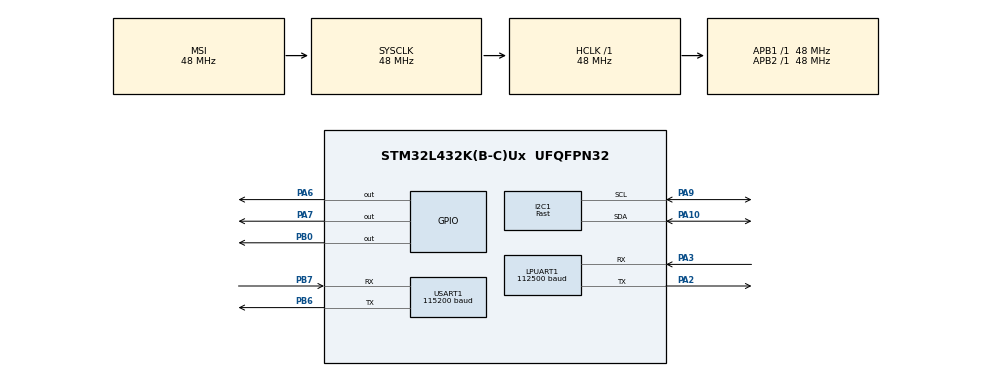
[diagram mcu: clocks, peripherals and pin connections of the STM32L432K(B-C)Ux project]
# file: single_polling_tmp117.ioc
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I2C1.I2C_Speed_Mode=I2C_Fast
I2C1.Timing=0x2010091A
LPUART1.BaudRate=112500
LPUART1.WordLength=UART_WORDLENGTH_8B
Mcu.Family=STM32L4
Mcu.Name=STM32L432K(B-C)Ux
Mcu.Package=UFQFPN32
NVIC.LPUART1_IRQn=true\:0\:0\:false\:true\:true\:1\:true\:true
NVIC.PriorityGroup=NVIC_PRIORITYGROUP_4
PA0.GPIO_Label=MCO
PA0.Signal=RCC_CK_IN
PA10.Mode=I2C
PA10.Signal=I2C1_SDA
PA13\ (JTMS-SWDIO).GPIO_Label=SWDIO
PA13\ (JTMS-SWDIO).Mode=Serial_Wire
PA13\ (JTMS-SWDIO).Signal=SYS_JTMS-SWDIO
PA14\ (JTCK-SWCLK).GPIO_Label=SWCLK
PA14\ (JTCK-SWCLK).Mode=Serial_Wire
PA14\ (JTCK-SWCLK).Signal=SYS_JTCK-SWCLK
PA2.Mode=Asynchronous
PA2.Signal=LPUART1_TX
PA3.Mode=Asynchronous
PA3.Signal=LPUART1_RX
PA6.GPIO_PuPd=GPIO_PULLDOWN
PA6.Signal=GPIO_Output
PA7.GPIO_PuPd=GPIO_PULLDOWN
PA7.Signal=GPIO_Output
PA9.Mode=I2C
PA9.Signal=I2C1_SCL
PB0.Signal=GPIO_Output
PB6.Mode=Asynchronous
PB6.Signal=USART1_TX
PB7.Mode=Asynchronous
PB7.Signal=USART1_RX
PC14-OSC32_IN\ (PC14).Mode=LSE-External-Oscillator
PC14-OSC32_IN\ (PC14).Signal=RCC_OSC32_IN
PC15-OSC32_OUT\ (PC15).Mode=LSE-External-Oscillator
PC15-OSC32_OUT\ (PC15).Signal=RCC_OSC32_OUT
ProjectManager.HeapSize=0x200
ProjectManager.StackSize=0x400
ProjectManager.TargetToolchain=STM32CubeIDE
RCC.ADCFreq_Value=48000000
RCC.AHBFreq_Value=48000000
RCC.APB1Freq_Value=48000000
RCC.APB1TimFreq_Value=48000000
RCC.APB2Freq_Value=48000000
RCC.APB2TimFreq_Value=48000000
RCC.CK48CLockSelection=RCC_USBCLKSOURCE_MSI
RCC.CortexFreq_Value=48000000
RCC.HCLKFreq_Value=48000000
RCC.HSE_VALUE=8000000
RCC.HSI48_VALUE=48000000
RCC.HSI_VALUE=16000000
RCC.LPTIM1CLockSelection=RCC_LPTIM1CLKSOURCE_LSE
RCC.MSIClockRange=RCC_MSIRANGE_11
RCC.MSI_VALUE=48000000
RCC.PLLM=8
RCC.PLLQ=RCC_PLLQ_DIV4
RCC.PLLSAI1N=16
RCC.PLLSAI1Q=RCC_PLLQ_DIV4
RCC.RTCClockSelection=RCC_RTCCLKSOURCE_LSE
RCC.SYSCLKFreq_VALUE=48000000
RCC.USBFreq_Value=48000000
RCC.VCOOutputFreq_Value=48000000
USART1.BaudRate=115200
USART1.VirtualMode-Asynchronous=VM_ASYNC
VP_TIM1_VS_ClockSourceINT.Mode=Internal
VP_TIM2_VS_ClockSourceINT.Mode=Internal
board=custom

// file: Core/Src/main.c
/* USER CODE BEGIN Header */
/**
  ******************************************************************************
  * @file           : main.c
  * @brief          : Main program body
  ******************************************************************************
  * @attention
  *
  * Copyright (c) 2022 STMicroelectronics.
  * All rights reserved.
  *
  * This software is licensed under terms that can be found in the LICENSE file
  * in the root directory of this software component.
  * If no LICENSE file comes with this software, it is provided AS-IS.
  *
  ******************************************************************************
  */
/* USER CODE END Header */
#include "main.h"

/* USER CODE BEGIN Includes */
#include <stdio.h>
#include <string.h>
/* USER CODE END Includes */

/* USER CODE BEGIN PD */
#define HEAT_ON 6
#define HEAT_OFF 600
#define SIZE 32
/* USER CODE END PD */

I2C_HandleTypeDef hi2c1;

UART_HandleTypeDef hlpuart1;
UART_HandleTypeDef huart1;

TIM_HandleTypeDef htim1;
TIM_HandleTypeDef htim2;

/* USER CODE BEGIN PV */
static const uint8_t TMP117_ADDR = 0x48 << 1;
static const uint8_t BROADCAST_ADDR = 0x00 << 1;
static const uint8_t REG_TEMP = 0x00;
static const uint8_t REG_CONF = 0x01;
static uint8_t buf[SIZE];
/* USER CODE END PV */

void SystemClock_Config(void);
static void MX_GPIO_Init(void);
static void MX_LPUART1_UART_Init(void);
static void MX_USART1_UART_Init(void);
static void MX_I2C1_Init(void);
static void MX_TIM1_Init(void);
static void MX_TIM2_Init(void);
static void MX_NVIC_Init(void);

/* USER CODE BEGIN 0 */
//void HAL_UART_RxCpltCallback(UART_HandleTypeDef *hlpuart) {
//	HAL_UART_Transmit(&huart1, buf, strlen((char*) buf),
//	HAL_MAX_DELAY);
//	HAL_UART_Receive_IT(&hlpuart1, buf, 1);
//}
/* USER CODE END 0 */

int main(void)
{
  /* USER CODE BEGIN 1 */
  HAL_StatusTypeDef ret;
  uint32_t prev_time;
  uint32_t idx;
  int16_t val;
  int8_t heater;
  float temp_c;
  /* USER CODE END 1 */

  /* MCU Configuration--------------------------------------------------------*/

  /* Reset of all peripherals, Initializes the Flash interface and the Systick. */
  HAL_Init();

  /* Configure the system clock */
  SystemClock_Config();

  /* Initialize all configured peripherals */
  MX_GPIO_Init();
  MX_LPUART1_UART_Init();
  MX_USART1_UART_Init();
  MX_I2C1_Init();
  MX_TIM1_Init();
  MX_TIM2_Init();

  /* Initialize interrupts */
  MX_NVIC_Init();
  /* USER CODE BEGIN 2 */
  buf[0] = REG_CONF;
  buf[1] = 0x00;
  buf[2] = 0x00;
  ret = HAL_I2C_Master_Transmit(&hi2c1, TMP117_ADDR, buf, 3, HAL_MAX_DELAY);
  if (ret != HAL_OK) {
    strcpy((char*)buf, "Error Tx\r\n");
  }
  HAL_UART_Transmit(&huart1, (uint8_t*)buf, strlen((char*)buf), HAL_MAX_DELAY);
  HAL_Delay(1000);
  /* USER CODE END 2 */

  /* Infinite loop */
  /* USER CODE BEGIN WHILE */
  HAL_GPIO_WritePin(GPIOB, GPIO_PIN_0, GPIO_PIN_RESET);
  HAL_GPIO_WritePin(GPIOA, GPIO_PIN_6, GPIO_PIN_RESET);
  HAL_GPIO_WritePin(GPIOA, GPIO_PIN_7, GPIO_PIN_RESET);
  idx = 0;
  while (1)
  {
	if(idx == 1){
		heater = 100;
		HAL_GPIO_WritePin(GPIOA, GPIO_PIN_7, GPIO_PIN_SET);
		HAL_GPIO_WritePin(GPIOB, GPIO_PIN_0, GPIO_PIN_SET);
	}
	else if (idx == HEAT_ON+1){
		heater = 0;
		HAL_GPIO_WritePin(GPIOA, GPIO_PIN_7, GPIO_PIN_RESET);
		HAL_GPIO_WritePin(GPIOB, GPIO_PIN_0, GPIO_PIN_RESET);
	}
	else if (idx == HEAT_OFF+HEAT_ON+1){
		idx = 0;
	}
	idx++;
	prev_time = HAL_GetTick();
	buf[0] = REG_TEMP;
	ret = HAL_I2C_Master_Transmit(&hi2c1, TMP117_ADDR, buf, 1, HAL_MAX_DELAY);
	if (ret != HAL_OK) {
		strcpy((char*)buf, "Error Tx\r\n");
	}
	else{
		ret = HAL_I2C_Master_Receive(&hi2c1, TMP117_ADDR, buf, 2, HAL_MAX_DELAY);
		if (ret != HAL_OK) {
			strcpy((char*)buf, "Error Tx\r\n");
		}
		else{
			val = (int16_t)(buf[0] << 8| buf[1]);
			temp_c = val * 0.0078125;
			temp_c *= 100;
			for(int i=0; i<SIZE; i++){
				buf[i] = 0;
			}
			sprintf((char*)buf, "%lu %u.%02u %d\r\n",(uint32_t)prev_time,(uint16_t)temp_c/100,(uint16_t)temp_c%100, heater);
		}
	}

	HAL_UART_Transmit(&huart1, (uint8_t*)buf, strlen((char*)buf), HAL_MAX_DELAY);
	while(HAL_GetTick()-prev_time < 20);
    /* USER CODE END WHILE */

  }
}

void SystemClock_Config(void)
{
  RCC_OscInitTypeDef RCC_OscInitStruct = {0};
  RCC_ClkInitTypeDef RCC_ClkInitStruct = {0};

  /** Configure the main internal regulator output voltage
  */
  if (HAL_PWREx_ControlVoltageScaling(PWR_REGULATOR_VOLTAGE_SCALE1) != HAL_OK)
  {
    Error_Handler();
  }
  /** Configure LSE Drive Capability
  */
  HAL_PWR_EnableBkUpAccess();
  __HAL_RCC_LSEDRIVE_CONFIG(RCC_LSEDRIVE_LOW);
  /** Initializes the RCC Oscillators according to the specified parameters
  * in the RCC_OscInitTypeDef structure.
  */
  RCC_OscInitStruct.OscillatorType = RCC_OSCILLATORTYPE_LSE|RCC_OSCILLATORTYPE_MSI;
  RCC_OscInitStruct.LSEState = RCC_LSE_ON;
  RCC_OscInitStruct.MSIState = RCC_MSI_ON;
  RCC_OscInitStruct.MSICalibrationValue = 0;
  RCC_OscInitStruct.MSIClockRange = RCC_MSIRANGE_11;
  RCC_OscInitStruct.PLL.PLLState = RCC_PLL_NONE;
  if (HAL_RCC_OscConfig(&RCC_OscInitStruct) != HAL_OK)
  {
    Error_Handler();
  }
  /** Initializes the CPU, AHB and APB buses clocks
  */
  RCC_ClkInitStruct.ClockType = RCC_CLOCKTYPE_HCLK|RCC_CLOCKTYPE_SYSCLK
                              |RCC_CLOCKTYPE_PCLK1|RCC_CLOCKTYPE_PCLK2;
  RCC_ClkInitStruct.SYSCLKSource = RCC_SYSCLKSOURCE_MSI;
  RCC_ClkInitStruct.AHBCLKDivider = RCC_SYSCLK_DIV1;
  RCC_ClkInitStruct.APB1CLKDivider = RCC_HCLK_DIV1;
  RCC_ClkInitStruct.APB2CLKDivider = RCC_HCLK_DIV1;

  if (HAL_RCC_ClockConfig(&RCC_ClkInitStruct, FLASH_LATENCY_2) != HAL_OK)
  {
    Error_Handler();
  }
  /** Enable MSI Auto calibration
  */
  HAL_RCCEx_EnableMSIPLLMode();
}

/**
  * @brief NVIC Configuration.
  * @retval None
  */
static void MX_NVIC_Init(void)
{
  /* LPUART1_IRQn interrupt configuration */
  HAL_NVIC_SetPriority(LPUART1_IRQn, 0, 0);
  HAL_NVIC_EnableIRQ(LPUART1_IRQn);
}

static void MX_I2C1_Init(void)
{

  hi2c1.Instance = I2C1;
  hi2c1.Init.Timing = 0x2010091A;
  hi2c1.Init.OwnAddress1 = 0;
  hi2c1.Init.AddressingMode = I2C_ADDRESSINGMODE_7BIT;
  hi2c1.Init.DualAddressMode = I2C_DUALADDRESS_DISABLE;
  hi2c1.Init.OwnAddress2 = 0;
  hi2c1.Init.OwnAddress2Masks = I2C_OA2_NOMASK;
  hi2c1.Init.GeneralCallMode = I2C_GENERALCALL_DISABLE;
  hi2c1.Init.NoStretchMode = I2C_NOSTRETCH_DISABLE;
  if (HAL_I2C_Init(&hi2c1) != HAL_OK)
  {
    Error_Handler();
  }
  /** Configure Analogue filter
  */
  if (HAL_I2CEx_ConfigAnalogFilter(&hi2c1, I2C_ANALOGFILTER_ENABLE) != HAL_OK)
  {
    Error_Handler();
  }
  /** Configure Digital filter
  */
  if (HAL_I2CEx_ConfigDigitalFilter(&hi2c1, 0) != HAL_OK)
  {
    Error_Handler();
  }

}

static void MX_LPUART1_UART_Init(void)
{

  hlpuart1.Instance = LPUART1;
  hlpuart1.Init.BaudRate = 112500;
  hlpuart1.Init.WordLength = UART_WORDLENGTH_8B;
  hlpuart1.Init.StopBits = UART_STOPBITS_1;
  hlpuart1.Init.Parity = UART_PARITY_NONE;
  hlpuart1.Init.Mode = UART_MODE_TX_RX;
  hlpuart1.Init.HwFlowCtl = UART_HWCONTROL_NONE;
  hlpuart1.Init.OneBitSampling = UART_ONE_BIT_SAMPLE_DISABLE;
  hlpuart1.AdvancedInit.AdvFeatureInit = UART_ADVFEATURE_NO_INIT;
  if (HAL_UART_Init(&hlpuart1) != HAL_OK)
  {
    Error_Handler();
  }

}

static void MX_USART1_UART_Init(void)
{

  huart1.Instance = USART1;
  huart1.Init.BaudRate = 115200;
  huart1.Init.WordLength = UART_WORDLENGTH_8B;
  huart1.Init.StopBits = UART_STOPBITS_1;
  huart1.Init.Parity = UART_PARITY_NONE;
  huart1.Init.Mode = UART_MODE_TX_RX;
  huart1.Init.HwFlowCtl = UART_HWCONTROL_NONE;
  huart1.Init.OverSampling = UART_OVERSAMPLING_16;
  huart1.Init.OneBitSampling = UART_ONE_BIT_SAMPLE_DISABLE;
  huart1.AdvancedInit.AdvFeatureInit = UART_ADVFEATURE_NO_INIT;
  if (HAL_UART_Init(&huart1) != HAL_OK)
  {
    Error_Handler();
  }

}

static void MX_TIM1_Init(void)
{

  TIM_ClockConfigTypeDef sClockSourceConfig = {0};
  TIM_MasterConfigTypeDef sMasterConfig = {0};

  htim1.Instance = TIM1;
  htim1.Init.Prescaler = 0;
  htim1.Init.CounterMode = TIM_COUNTERMODE_UP;
  htim1.Init.Period = 65535;
  htim1.Init.ClockDivision = TIM_CLOCKDIVISION_DIV1;
  htim1.Init.RepetitionCounter = 0;
  htim1.Init.AutoReloadPreload = TIM_AUTORELOAD_PRELOAD_DISABLE;
  if (HAL_TIM_Base_Init(&htim1) != HAL_OK)
  {
    Error_Handler();
  }
  sClockSourceConfig.ClockSource = TIM_CLOCKSOURCE_INTERNAL;
  if (HAL_TIM_ConfigClockSource(&htim1, &sClockSourceConfig) != HAL_OK)
  {
    Error_Handler();
  }
  sMasterConfig.MasterOutputTrigger = TIM_TRGO_RESET;
  sMasterConfig.MasterOutputTrigger2 = TIM_TRGO2_RESET;
  sMasterConfig.MasterSlaveMode = TIM_MASTERSLAVEMODE_DISABLE;
  if (HAL_TIMEx_MasterConfigSynchronization(&htim1, &sMasterConfig) != HAL_OK)
  {
    Error_Handler();
  }

}

static void MX_TIM2_Init(void)
{

  TIM_ClockConfigTypeDef sClockSourceConfig = {0};
  TIM_MasterConfigTypeDef sMasterConfig = {0};

  htim2.Instance = TIM2;
  htim2.Init.Prescaler = 0;
  htim2.Init.CounterMode = TIM_COUNTERMODE_UP;
  htim2.Init.Period = 4294967295;
  htim2.Init.ClockDivision = TIM_CLOCKDIVISION_DIV1;
  htim2.Init.AutoReloadPreload = TIM_AUTORELOAD_PRELOAD_DISABLE;
  if (HAL_TIM_Base_Init(&htim2) != HAL_OK)
  {
    Error_Handler();
  }
  sClockSourceConfig.ClockSource = TIM_CLOCKSOURCE_INTERNAL;
  if (HAL_TIM_ConfigClockSource(&htim2, &sClockSourceConfig) != HAL_OK)
  {
    Error_Handler();
  }
  sMasterConfig.MasterOutputTrigger = TIM_TRGO_RESET;
  sMasterConfig.MasterSlaveMode = TIM_MASTERSLAVEMODE_DISABLE;
  if (HAL_TIMEx_MasterConfigSynchronization(&htim2, &sMasterConfig) != HAL_OK)
  {
    Error_Handler();
  }

}

static void MX_GPIO_Init(void)
{
  GPIO_InitTypeDef GPIO_InitStruct = {0};

  /* GPIO Ports Clock Enable */
  __HAL_RCC_GPIOC_CLK_ENABLE();
  __HAL_RCC_GPIOA_CLK_ENABLE();
  __HAL_RCC_GPIOB_CLK_ENABLE();

  /*Configure GPIO pin Output Level */
  HAL_GPIO_WritePin(GPIOA, GPIO_PIN_6|GPIO_PIN_7, GPIO_PIN_RESET);

  /*Configure GPIO pin Output Level */
  HAL_GPIO_WritePin(GPIOB, GPIO_PIN_0, GPIO_PIN_RESET);

  /*Configure GPIO pins : PA6 PA7 */
  GPIO_InitStruct.Pin = GPIO_PIN_6|GPIO_PIN_7;
  GPIO_InitStruct.Mode = GPIO_MODE_OUTPUT_PP;
  GPIO_InitStruct.Pull = GPIO_PULLDOWN;
  GPIO_InitStruct.Speed = GPIO_SPEED_FREQ_LOW;
  HAL_GPIO_Init(GPIOA, &GPIO_InitStruct);

  /*Configure GPIO pin : PB0 */
  GPIO_InitStruct.Pin = GPIO_PIN_0;
  GPIO_InitStruct.Mode = GPIO_MODE_OUTPUT_PP;
  GPIO_InitStruct.Pull = GPIO_NOPULL;
  GPIO_InitStruct.Speed = GPIO_SPEED_FREQ_LOW;
  HAL_GPIO_Init(GPIOB, &GPIO_InitStruct);

}

void Error_Handler(void)
{
  __disable_irq();
  while (1)
  {
  }
}
